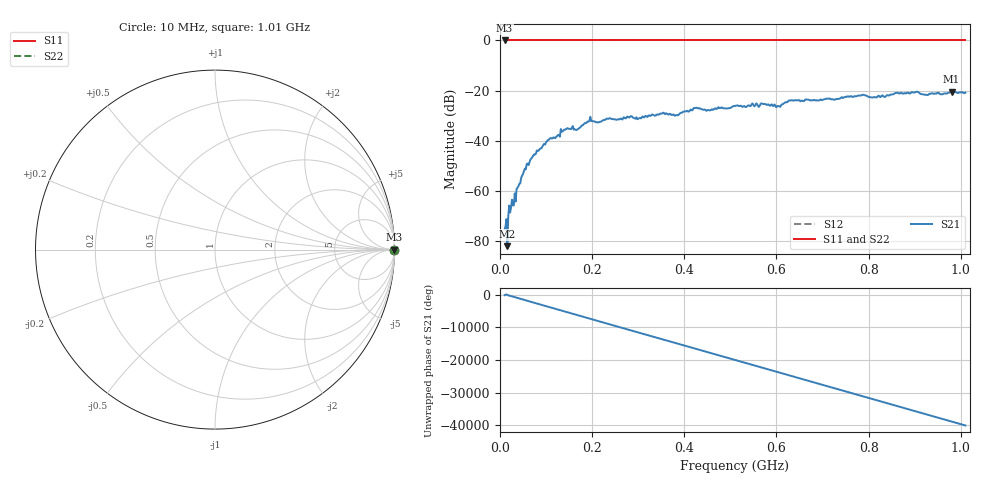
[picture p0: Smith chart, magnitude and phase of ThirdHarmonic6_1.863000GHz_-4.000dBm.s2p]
! 8/16/2025 10:31:29 PM
! C:\ANRITSUVNA\TEMP\TEMP.S2P
! CHANNEL.1
! TR.MEASUREMENT
! RAW.DATA
! RF.CORRECTION.OFF
! AVERAGING.OFF
! IF.BANDWIDTH: 5KHZ
! SWEEPTYPE:  FREQ.SWEEP(Linear)
! Reference Plane Port Info
! PORT:  PORT1  PORT2
! DISTANCE:  0  m  0  m
! TIME:  0  s  0  s
! PHASE.OFFSET:  0  deg.  0  deg.
! LOSS:  0  dB  0  dB
! REF.LOSS:  0  dB  0  dB
! REF.FREQ:  0  Hz  0  Hz
! Power Info
! POWER:  -20  dBm  -20  dBm
! EFF.POWER:  -20  dBm  -20  dBm
! SOURCE.ATTEN:  0  dB  0  dB
! TEST.ATTEN:  0  dB  0  dB
# GHZ S RI R 50.0
! FREQ.GHZ  S11RE  S11IM  S21RE  S21IM  S12RE  S12IM  S22RE  S22IM
!; PortSelection: Port_12
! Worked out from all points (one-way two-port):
!   501 points, 10 MHz to 1.01 GHz, reference 50 ohm
!   highest |S21| = -20.41 dB at 980 MHz (marker M1); lowest = -82.0 dB at 16 MHz (marker M2)
!   lowest |S11| = 0.0 dB at 10 MHz (marker M3)
!   |S11| at or under -10 dB: nowhere
!   |S22| runs from 0.0 to 0.0 dB; largest |S21 - S12| = 1.1
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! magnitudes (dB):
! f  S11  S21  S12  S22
! 10 MHz  0.0  -75.3  0.0  0.0
! 12 MHz  0.0  -74.2  0.0  0.0
! 16 MHz  0.0  -82.0  0.0  0.0
! 20 MHz  0.0  -65.8  0.0  0.0
! 22 MHz  0.0  -68.6  0.0  0.0
! 32 MHz  0.0  -61.0  0.0  0.0
! 50 MHz  0.0  -53.2  0.0  0.0
! 70 MHz  0.0  -46.5  0.0  0.0
! 106 MHz  0.0  -39.6  0.0  0.0
! 136 MHz  0.0  -36.2  0.0  0.0
! 178 MHz  0.0  -33.8  0.0  0.0
! 194 MHz  0.0  -32.0  0.0  0.0
! 344 MHz  0.0  -29.6  0.0  0.0
! 382 MHz  0.0  -29.8  0.0  0.0
! 424 MHz  0.0  -27.0  0.0  0.0
! 510 MHz  0.0  -26.1  0.0  0.0
! 604 MHz  0.0  -26.1  0.0  0.0
! 630 MHz  0.0  -24.0  0.0  0.0
! 678 MHz  0.0  -23.9  0.0  0.0
! 844 MHz  0.0  -22.0  0.0  0.0
! 980 MHz  0.0  -20.4  0.0  0.0
! 1.01 GHz  0.0  -20.8  0.0  0.0
